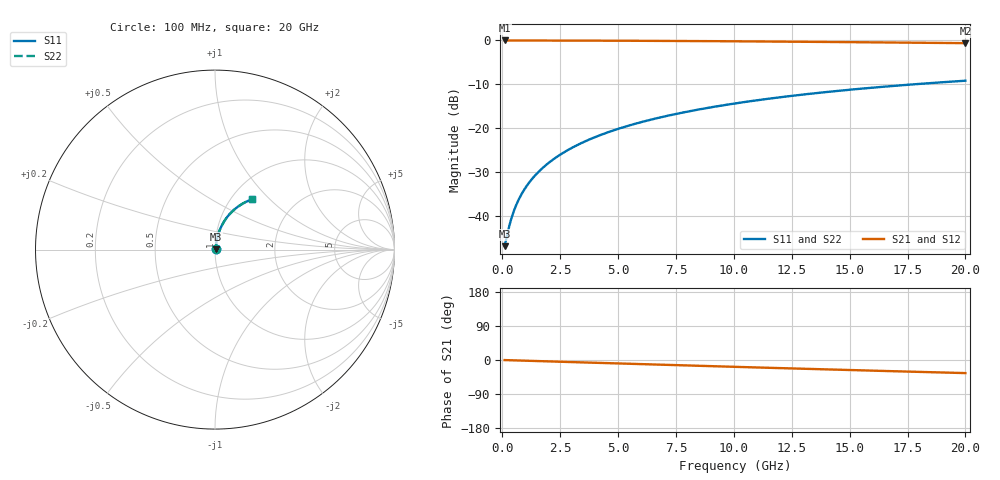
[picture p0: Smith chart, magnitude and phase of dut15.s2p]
! Touchstone file exported from HFSS 2026.1.0
!  File:  C:/ffzhzh/LocalFiles/Ansys_Project_Files/temp_val_TMRDL_15_1782902946_43084.aedt
!  Generated:  06:50:25 PM Jul  1, 2026
!  Design:  TMRDL
!  Project:  temp_val_TMRDL_15_1782902946_43084
! Variables:
!  h_bsmrdl = 2um
!  h_ox = 20um
!  h_rdl = 5um
!  h_sub = 80um
!  h_tmrdl = 2.33um
!  h_tsv = 80um
!  h_via = 3um
!  l_bsmrdl = 300um
!  l_sub = 870.32um
!  l_tmrdl = 470.32um
!  m_sub = 200um
!  pitch = 44.61um
!  r_tsv = 6um
!  s_tmrdl = 10um
!  w_bsmrdl = 18um
!  w_sub = 500um
!  w_tmrdl = 19.39um
!  x_tsv_center1 = 480.015um
!  x_tsv_center2 = 798.015um
!  x_tsv_center3 = 1287.725um
!  x_tsv_center4 = 1605.725um
!  x_tsv_center5 = 2095.435um
!  x_tsv_center6 = 2413.435um
# GHz S MA R 50.000000
! Terminal data exported
! Port[1] = TM_RDL1_1_T1
! Port[2] = TM_RDL1_1_T2
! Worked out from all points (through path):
!   200 points, 100 MHz to 20 GHz, reference 50 ohm
!   highest |S21| = -0.03 dB at 100 MHz (marker M1); lowest = -0.6 dB at 20 GHz (marker M2)
!   group delay of S21, straight-line fit = 4.81 ps
!   lowest |S11| = -46.9 dB at 100 MHz (marker M3), VSWR 1.01, Z = 50.4 + j0.216 ohm
!   |S11| at or under -10 dB: start of sweep to 17.85 GHz
!   |S22| runs from -46.9 to -9.2 dB; largest |S21 - S12| = 3.4e-15
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0.1  0.004505 28.4  0.996 -0.2  0.996 -0.2  0.004505 28.4
! Gamma 0 0 0 0
! Port Impedance 50 0 50 0
0.3  0.007613 56.5  0.9958 -0.6  0.9958 -0.6  0.007613 56.5
0.4  0.00946 62.4  0.9957 -0.8  0.9957 -0.8  0.00946 62.4
0.5  0.01135 66.3  0.9956 -1.0  0.9956 -1.0  0.01135 66.3
0.6  0.01324 69.0  0.9954 -1.1  0.9954 -1.1  0.01324 69.0
0.7  0.01514 71.0  0.9953 -1.3  0.9953 -1.3  0.01514 71.0
0.9  0.01895 73.8  0.9951 -1.7  0.9951 -1.7  0.01895 73.8
1.2  0.02467 76.2  0.9948 -2.2  0.9948 -2.2  0.02467 76.2
1.4  0.0285 77.3  0.9946 -2.6  0.9946 -2.6  0.0285 77.3
1.7  0.03426 78.3  0.9943 -3.1  0.9943 -3.1  0.03426 78.3
2.2  0.04391 79.1  0.9938 -4.0  0.9938 -4.0  0.04391 79.1
2.8  0.05551 79.4  0.9931 -5.1  0.9931 -5.1  0.05551 79.3
3.5  0.06904 79.0  0.9922 -6.4  0.9922 -6.4  0.06904 79.0
4.2  0.08251 78.4  0.991 -7.7  0.991 -7.7  0.08251 78.4
5  0.09782 77.5  0.9894 -9.1  0.9894 -9.1  0.09782 77.5
5.9  0.1149 76.3  0.9873 -10.7  0.9873 -10.7  0.1149 76.2
6.8  0.1318 74.9  0.985 -12.3  0.985 -12.3  0.1318 74.9
8.3  0.1594 72.6  0.9805 -15.0  0.9805 -15.0  0.1594 72.5
10.1  0.1916 69.7  0.9741 -18.2  0.9741 -18.2  0.1916 69.6
13.4  0.2476 64.3  0.9605 -23.8  0.9605 -23.8  0.2476 64.2
16.7  0.2993 59.0  0.9449 -29.3  0.9449 -29.3  0.2993 58.9
20  0.3463 53.8  0.9281 -34.6  0.9281 -34.6  0.3463 53.8
